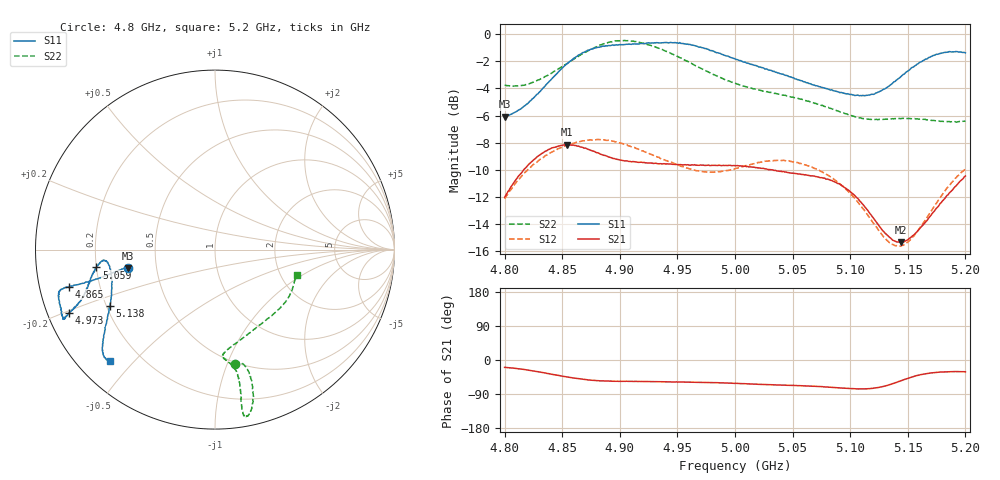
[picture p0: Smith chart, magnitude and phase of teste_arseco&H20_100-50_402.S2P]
! Network Analyzer HP8722D
! Hewlett-Packard
! Data name: Linha & Wilkinson
! Saver's name: Rodrigo Anjos
! Comments: Teste da utilização de aquisição
! continua pelo VNA HP8722D
! Time and date: 6/5/2025 15:55
!  Frequency  S11  S21  S12  S22
# HZ  S  MA R 50
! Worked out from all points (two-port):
!   401 points, 4.8 GHz to 5.2 GHz, reference 50 ohm
!   highest |S21| = -8.14 dB at 4.854 GHz (marker M1); lowest = -15.3 dB at 5.144 GHz (marker M2)
!   |S21| within 3 dB of the highest: 4.806 GHz to 5.092 GHz (286.1 MHz wide, 5.78 % of centre); 5.192315 GHz to end of sweep
!   lowest |S11| = -6.1 dB at 4.8 GHz (marker M3), VSWR 2.97, Z = 17 - j4.62 ohm
!   |S11| at or under -10 dB: nowhere
!   |S22| runs from -6.5 to -0.5 dB; largest |S21 - S12| = 0.62
!   S11 on the Smith chart (normalised r, x): 4.8 GHz: 0.34, -0.09; 4.865 GHz: 0.09, -0.12; 4.973 GHz: 0.06, -0.21; 5.059 GHz: 0.20, -0.07; 5.138 GHz: 0.21, -0.24; 5.2 GHz: 0.09, -0.43
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4.8e9  0.4959 -168.1  0.2508 -19.4  0.2479 -140.6  0.6476 -80.3
4.828e9  0.5993 -167.0  0.3526 -30.5  0.3374 -144.6  0.6736 -75.4
4.854e9  0.7759 -165.7  0.3917 -44.8  0.3895 -149.6  0.7777 -74.6
4.865e9  0.8392 -165.7  0.3856 -49.8  0.4015 -151.5  0.8326 -75.2
4.867e9  0.8487 -165.8  0.3835 -50.6  0.4036 -151.8  0.8426 -75.3
4.88e9  0.89 -165.3  0.3657 -54.5  0.4089 -154.0  0.8981 -76.6
4.9e9  0.9136 -162.4  0.344 -56.2  0.3972 -156.4  0.9438 -79.0
4.934e9  0.9277 -156.3  0.333 -57.4  0.3519 -155.5  0.8846 -80.4
4.951e9  0.9236 -155.3  0.3308 -58.0  0.3288 -152.5  0.823 -79.8
4.973e9  0.8869 -156.6  0.3287 -59.3  0.311 -145.7  0.7382 -79.6
5e9  0.8101 -158.9  0.3278 -61.7  0.3195 -137.1  0.6593 -81.2
5.035e9  0.7232 -165.1  0.315 -65.6  0.3422 -134.2  0.6047 -85.5
5.059e9  0.669 -171.4  0.3042 -68.1  0.3315 -136.0  0.5727 -84.3
5.067e9  0.6506 -172.8  0.3008 -69.0  0.3234 -136.6  0.56 -82.7
5.085e9  0.6192 -174.4  0.2873 -72.4  0.2943 -138.2  0.5286 -75.8
5.103e9  0.5963 -171.4  0.2563 -76.0  0.251 -138.6  0.498 -65.2
5.117e9  0.5959 -165.0  0.2188 -75.6  0.2102 -135.0  0.485 -55.2
5.134e9  0.6447 -154.3  0.1788 -65.5  0.1708 -120.7  0.4868 -43.3
5.138e9  0.6665 -151.7  0.1736 -61.3  0.1672 -115.8  0.4872 -40.9
5.144e9  0.6965 -148.8  0.171 -54.9  0.1657 -107.6  0.4883 -37.4
5.173e9  0.8343 -138.9  0.2228 -33.2  0.2325 -80.6  0.4804 -24.3
5.2e9  0.8521 -133.5  0.3003 -31.1  0.3188 -76.7  0.4774 -17.5
